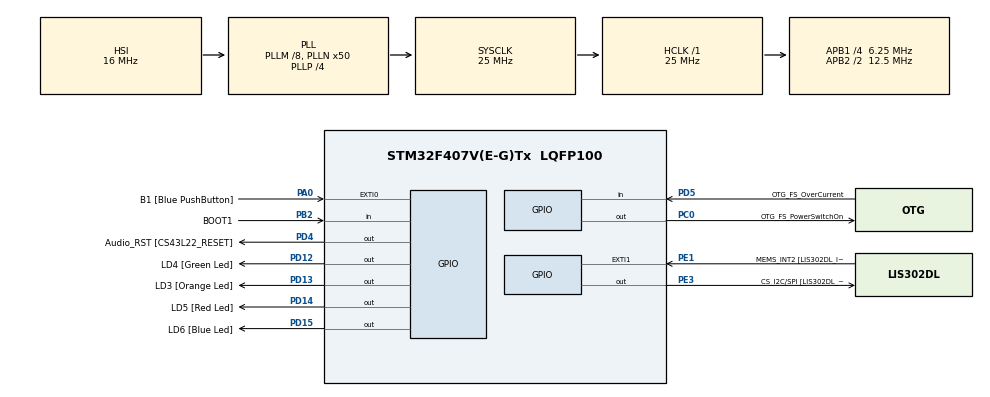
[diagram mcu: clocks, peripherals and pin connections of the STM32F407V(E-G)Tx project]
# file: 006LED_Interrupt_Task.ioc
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Mcu.Family=STM32F4
Mcu.Name=STM32F407V(E-G)Tx
Mcu.Package=LQFP100
NVIC.EXTI0_IRQn=true\:5\:0\:true\:false\:true\:true\:true\:true
NVIC.PriorityGroup=NVIC_PRIORITYGROUP_4
NVIC.TIM6_DAC_IRQn=true\:0\:0\:false\:false\:true\:false\:true\:true
NVIC.TimeBase=TIM6_DAC_IRQn
NVIC.TimeBaseIP=TIM6
PA0-WKUP.GPIO_Label=B1 [Blue PushButton]
PA0-WKUP.GPIO_ModeDefaultEXTI=GPIO_MODE_IT_FALLING
PA0-WKUP.Signal=GPXTI0
PA10.GPIO_Label=OTG_FS_ID
PA10.GPIO_Mode=GPIO_MODE_AF_PP
PA10.GPIO_PuPd=GPIO_NOPULL
PA10.GPIO_Speed=GPIO_SPEED_FREQ_LOW
PA10.Signal=USB_OTG_FS_ID
PA11.GPIO_Label=OTG_FS_DM
PA11.GPIO_Mode=GPIO_MODE_AF_PP
PA11.GPIO_PuPd=GPIO_NOPULL
PA11.GPIO_Speed=GPIO_SPEED_FREQ_LOW
PA11.Signal=USB_OTG_FS_DM
PA12.GPIO_Label=OTG_FS_DP
PA12.GPIO_Mode=GPIO_MODE_AF_PP
PA12.GPIO_PuPd=GPIO_NOPULL
PA12.GPIO_Speed=GPIO_SPEED_FREQ_LOW
PA12.Signal=USB_OTG_FS_DP
PA13.GPIO_Label=SWDIO
PA13.Signal=SYS_JTMS-SWDIO
PA14.GPIO_Label=SWCLK
PA14.Signal=SYS_JTCK-SWCLK
PA4.GPIO_Label=I2S3_WS [CS43L22_LRCK]
PA4.GPIO_Mode=GPIO_MODE_AF_PP
PA4.GPIO_PuPd=GPIO_NOPULL
PA4.GPIO_Speed=GPIO_SPEED_FREQ_LOW
PA4.Signal=I2S3_WS
PA5.GPIO_Label=SPI1_SCK [LIS302DL_SCL/SPC]
PA5.GPIO_Mode=GPIO_MODE_AF_PP
PA5.GPIO_PuPd=GPIO_NOPULL
PA5.GPIO_Speed=GPIO_SPEED_FREQ_LOW
PA5.Signal=SPI1_SCK
PA6.GPIO_Label=SPI1_MISO [LIS302DL_SDO]
PA6.GPIO_Mode=GPIO_MODE_AF_PP
PA6.GPIO_PuPd=GPIO_NOPULL
PA6.GPIO_Speed=GPIO_SPEED_FREQ_LOW
PA6.Signal=SPI1_MISO
PA7.GPIO_Label=SPI1_MOSI [LIS302DL_SDA/SDI/SDO]
PA7.GPIO_Mode=GPIO_MODE_AF_PP
PA7.GPIO_PuPd=GPIO_NOPULL
PA7.GPIO_Speed=GPIO_SPEED_FREQ_LOW
PA7.Signal=SPI1_MOSI
PA9.GPIO_Label=VBUS_FS
PA9.GPIO_Mode=GPIO_MODE_INPUT
PA9.GPIO_PuPd=GPIO_NOPULL
PA9.Signal=USB_OTG_FS_VBUS
PB10.GPIO_Label=CLK_IN [MP45DT02_CLK]
PB10.GPIO_Mode=GPIO_MODE_AF_PP
PB10.GPIO_PuPd=GPIO_NOPULL
PB10.GPIO_Speed=GPIO_SPEED_FREQ_LOW
PB10.Signal=I2S2_CK
PB2.GPIO_Label=BOOT1
PB2.GPIO_Mode=GPIO_MODE_INPUT
PB2.GPIO_PuPd=GPIO_NOPULL
PB2.Signal=GPIO_Input
PB3.GPIO_Label=SWO
PB3.Signal=SYS_JTDO-SWO
PB6.GPIO_Label=Audio_SCL [CS43L22_SCL]
PB6.GPIO_Mode=GPIO_MODE_AF_OD
PB6.GPIO_PuPd=GPIO_NOPULL
PB6.GPIO_Speed=GPIO_SPEED_FREQ_LOW
PB6.Signal=I2C1_SCL
PB9.GPIO_Label=Audio_SDA [CS43L22_SDA]
PB9.GPIO_Mode=GPIO_MODE_AF_OD
PB9.GPIO_PuPd=GPIO_NOPULL
PB9.GPIO_Speed=GPIO_SPEED_FREQ_LOW
PB9.Signal=I2C1_SDA
PC0.GPIO_Label=OTG_FS_PowerSwitchOn
PC0.GPIO_PuPd=GPIO_NOPULL
PC0.GPIO_Speed=GPIO_SPEED_FREQ_LOW
PC0.PinState=GPIO_PIN_SET
PC0.Signal=GPIO_Output
PC10.GPIO_Label=I2S3_SCK [CS43L22_SCLK]
PC10.GPIO_Mode=GPIO_MODE_AF_PP
PC10.GPIO_PuPd=GPIO_NOPULL
PC10.GPIO_Speed=GPIO_SPEED_FREQ_LOW
PC10.Signal=I2S3_CK
PC12.GPIO_Label=I2S3_SD [CS43L22_SDIN]
PC12.GPIO_Mode=GPIO_MODE_AF_PP
PC12.GPIO_PuPd=GPIO_NOPULL
PC12.GPIO_Speed=GPIO_SPEED_FREQ_LOW
PC12.Signal=I2S3_SD
PC14-OSC32_IN.GPIO_Label=PC14-OSC32_IN
PC14-OSC32_IN.Signal=RCC_OSC32_IN
PC15-OSC32_OUT.GPIO_Label=PC15-OSC32_OUT
PC15-OSC32_OUT.Signal=RCC_OSC32_OUT
PC3.GPIO_Label=PDM_OUT [MP45DT02_DOUT]
PC3.GPIO_Mode=GPIO_MODE_AF_PP
PC3.GPIO_PuPd=GPIO_NOPULL
PC3.GPIO_Speed=GPIO_SPEED_FREQ_LOW
PC3.Signal=I2S2_SD
PC7.GPIO_Label=I2S3_MCK [CS43L22_MCLK]
PC7.GPIO_Mode=GPIO_MODE_AF_PP
PC7.GPIO_PuPd=GPIO_NOPULL
PC7.GPIO_Speed=GPIO_SPEED_FREQ_LOW
PC7.Signal=I2S3_MCK
PD12.GPIO_Label=LD4 [Green Led]
PD12.GPIO_PuPd=GPIO_NOPULL
PD12.GPIO_Speed=GPIO_SPEED_FREQ_LOW
PD12.Signal=GPIO_Output
PD13.GPIO_Label=LD3 [Orange Led]
PD13.GPIO_PuPd=GPIO_NOPULL
PD13.GPIO_Speed=GPIO_SPEED_FREQ_LOW
PD13.Signal=GPIO_Output
PD14.GPIO_Label=LD5 [Red Led]
PD14.GPIO_PuPd=GPIO_NOPULL
PD14.GPIO_Speed=GPIO_SPEED_FREQ_LOW
PD14.Signal=GPIO_Output
PD15.GPIO_Label=LD6 [Blue Led]
PD15.GPIO_PuPd=GPIO_NOPULL
PD15.GPIO_Speed=GPIO_SPEED_FREQ_LOW
PD15.Signal=GPIO_Output
PD4.GPIO_Label=Audio_RST [CS43L22_RESET]
PD4.GPIO_PuPd=GPIO_NOPULL
PD4.GPIO_Speed=GPIO_SPEED_FREQ_LOW
PD4.Signal=GPIO_Output
PD5.GPIO_Label=OTG_FS_OverCurrent
PD5.GPIO_Mode=GPIO_MODE_INPUT
PD5.GPIO_PuPd=GPIO_NOPULL
PD5.Signal=GPIO_Input
PE1.GPIO_Label=MEMS_INT2 [LIS302DL_INT2]
PE1.GPIO_ModeDefaultEXTI=GPIO_MODE_EVT_RISING
PE1.GPIO_PuPd=GPIO_NOPULL
PE1.Signal=GPXTI1
PE3.GPIO_Label=CS_I2C/SPI [LIS302DL_CS_I2C/SPI]
PE3.GPIO_PuPd=GPIO_NOPULL
PE3.GPIO_Speed=GPIO_SPEED_FREQ_LOW
PE3.Signal=GPIO_Output
PH0-OSC_IN.GPIO_Label=PH0-OSC_IN
PH0-OSC_IN.Signal=RCC_OSC_IN
PH1-OSC_OUT.GPIO_Label=PH1-OSC_OUT
PH1-OSC_OUT.Signal=RCC_OSC_OUT
ProjectManager.HeapSize=0x200
ProjectManager.StackSize=0x400
ProjectManager.TargetToolchain=STM32CubeIDE
RCC.48MHZClocksFreq_Value=14285714.285714285
RCC.AHBFreq_Value=25000000
RCC.APB1CLKDivider=RCC_HCLK_DIV4
RCC.APB1Freq_Value=6250000
RCC.APB1TimFreq_Value=12500000
RCC.APB2CLKDivider=RCC_HCLK_DIV2
RCC.APB2Freq_Value=12500000
RCC.APB2TimFreq_Value=25000000
RCC.CortexFreq_Value=25000000
RCC.HCLKFreq_Value=25000000
RCC.HSE_VALUE=8000000
RCC.HSI_VALUE=16000000
RCC.LSE_VALUE=32768
RCC.PLLM=8
RCC.PLLN=50
RCC.PLLP=RCC_PLLP_DIV4
RCC.PLLQ=7
RCC.SYSCLKFreq_VALUE=25000000
RCC.SYSCLKSource=RCC_SYSCLKSOURCE_PLLCLK
RCC.VCOOutputFreq_Value=100000000
VP_SYS_VS_tim6.Mode=TIM6
board=STM32F407G-DISC1

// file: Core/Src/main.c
/* USER CODE BEGIN Header */
/**
  ******************************************************************************
  * @file           : main.c
  * @brief          : Main program body
  ******************************************************************************
  * @attention
  *
  * Copyright (c) 2024 STMicroelectronics.
  * All rights reserved.
  *
  * This software is licensed under terms that can be found in the LICENSE file
  * in the root directory of this software component.
  * If no LICENSE file comes with this software, it is provided AS-IS.
  *
  ******************************************************************************
  */
/* USER CODE END Header */
#include "main.h"

/* USER CODE BEGIN Includes */
#include "FreeRTOS.h"
#include "task.h"
#include <stdio.h>
/* USER CODE END Includes */

/* USER CODE BEGIN PM */
#define DWT_CTRL (*(volatile uint32_t*)0xE0001000)
/* USER CODE END PM */

void SystemClock_Config(void);
static void MX_GPIO_Init(void);
/* USER CODE BEGIN PFP */

static void led_green_handler(void* parameters);
static void led_red_handler(void* parameters);
void button_interrupt_handler(void);

void switch_priority(void);

/* USER CODE END PFP */

/* USER CODE BEGIN 0 */
extern void SEGGER_UART_init(uint32_t);

volatile BaseType_t status_button = 0;
/* USER CODE END 0 */

int main(void)
{
  /* USER CODE BEGIN 1 */
	BaseType_t status;
	TaskHandle_t ledg_task_handle;
	TaskHandle_t ledr_task_handle;
  /* USER CODE END 1 */

  /* MCU Configuration--------------------------------------------------------*/

  /* Reset of all peripherals, Initializes the Flash interface and the Systick. */
  HAL_Init();

  /* Configure the system clock */
  SystemClock_Config();

  /* Initialize all configured peripherals */
  MX_GPIO_Init();
  /* USER CODE BEGIN 2 */

  SEGGER_UART_init(500000);

  //  Cyclic count enable
    DWT_CTRL |=(1<<0);

    SEGGER_SYSVIEW_Conf();

  //  task creation
    status = xTaskCreate(led_green_handler,
                "Task-1",
                200,
                NULL,
                3,
                &ledg_task_handle
                              );

    configASSERT(status == pdPASS);

    status = xTaskCreate(led_red_handler,
                  "Task-2",
                  200,
                  NULL,
                  2,
                  &ledr_task_handle
                                );

    configASSERT(status == pdPASS);

     vTaskStartScheduler();

  /* USER CODE END 2 */

  /* Infinite loop */
  while (1)
  {

  }
}

void SystemClock_Config(void)
{
  RCC_OscInitTypeDef RCC_OscInitStruct = {0};
  RCC_ClkInitTypeDef RCC_ClkInitStruct = {0};

  /** Configure the main internal regulator output voltage
  */
  __HAL_RCC_PWR_CLK_ENABLE();
  __HAL_PWR_VOLTAGESCALING_CONFIG(PWR_REGULATOR_VOLTAGE_SCALE1);

  /** Initializes the RCC Oscillators according to the specified parameters
  * in the RCC_OscInitTypeDef structure.
  */
  RCC_OscInitStruct.OscillatorType = RCC_OSCILLATORTYPE_HSI;
  RCC_OscInitStruct.HSIState = RCC_HSI_ON;
  RCC_OscInitStruct.HSICalibrationValue = RCC_HSICALIBRATION_DEFAULT;
  RCC_OscInitStruct.PLL.PLLState = RCC_PLL_ON;
  RCC_OscInitStruct.PLL.PLLSource = RCC_PLLSOURCE_HSI;
  RCC_OscInitStruct.PLL.PLLM = 8;
  RCC_OscInitStruct.PLL.PLLN = 50;
  RCC_OscInitStruct.PLL.PLLP = RCC_PLLP_DIV4;
  RCC_OscInitStruct.PLL.PLLQ = 7;
  if (HAL_RCC_OscConfig(&RCC_OscInitStruct) != HAL_OK)
  {
    Error_Handler();
  }

  /** Initializes the CPU, AHB and APB buses clocks
  */
  RCC_ClkInitStruct.ClockType = RCC_CLOCKTYPE_HCLK|RCC_CLOCKTYPE_SYSCLK
                              |RCC_CLOCKTYPE_PCLK1|RCC_CLOCKTYPE_PCLK2;
  RCC_ClkInitStruct.SYSCLKSource = RCC_SYSCLKSOURCE_PLLCLK;
  RCC_ClkInitStruct.AHBCLKDivider = RCC_SYSCLK_DIV1;
  RCC_ClkInitStruct.APB1CLKDivider = RCC_HCLK_DIV4;
  RCC_ClkInitStruct.APB2CLKDivider = RCC_HCLK_DIV2;

  if (HAL_RCC_ClockConfig(&RCC_ClkInitStruct, FLASH_LATENCY_0) != HAL_OK)
  {
    Error_Handler();
  }
}

static void MX_GPIO_Init(void)
{
  GPIO_InitTypeDef GPIO_InitStruct = {0};

  /* GPIO Ports Clock Enable */
  __HAL_RCC_GPIOE_CLK_ENABLE();
  __HAL_RCC_GPIOC_CLK_ENABLE();
  __HAL_RCC_GPIOH_CLK_ENABLE();
  __HAL_RCC_GPIOA_CLK_ENABLE();
  __HAL_RCC_GPIOB_CLK_ENABLE();
  __HAL_RCC_GPIOD_CLK_ENABLE();

  /*Configure GPIO pin Output Level */
  HAL_GPIO_WritePin(CS_I2C_SPI_GPIO_Port, CS_I2C_SPI_Pin, GPIO_PIN_RESET);

  /*Configure GPIO pin Output Level */
  HAL_GPIO_WritePin(OTG_FS_PowerSwitchOn_GPIO_Port, OTG_FS_PowerSwitchOn_Pin, GPIO_PIN_SET);

  /*Configure GPIO pin Output Level */
  HAL_GPIO_WritePin(GPIOD, LD4_Pin|LD3_Pin|LD5_Pin|LD6_Pin
                          |Audio_RST_Pin, GPIO_PIN_RESET);

  /*Configure GPIO pin : CS_I2C_SPI_Pin */
  GPIO_InitStruct.Pin = CS_I2C_SPI_Pin;
  GPIO_InitStruct.Mode = GPIO_MODE_OUTPUT_PP;
  GPIO_InitStruct.Pull = GPIO_NOPULL;
  GPIO_InitStruct.Speed = GPIO_SPEED_FREQ_LOW;
  HAL_GPIO_Init(CS_I2C_SPI_GPIO_Port, &GPIO_InitStruct);

  /*Configure GPIO pin : OTG_FS_PowerSwitchOn_Pin */
  GPIO_InitStruct.Pin = OTG_FS_PowerSwitchOn_Pin;
  GPIO_InitStruct.Mode = GPIO_MODE_OUTPUT_PP;
  GPIO_InitStruct.Pull = GPIO_NOPULL;
  GPIO_InitStruct.Speed = GPIO_SPEED_FREQ_LOW;
  HAL_GPIO_Init(OTG_FS_PowerSwitchOn_GPIO_Port, &GPIO_InitStruct);

  /*Configure GPIO pin : PDM_OUT_Pin */
  GPIO_InitStruct.Pin = PDM_OUT_Pin;
  GPIO_InitStruct.Mode = GPIO_MODE_AF_PP;
  GPIO_InitStruct.Pull = GPIO_NOPULL;
  GPIO_InitStruct.Speed = GPIO_SPEED_FREQ_LOW;
  GPIO_InitStruct.Alternate = GPIO_AF5_SPI2;
  HAL_GPIO_Init(PDM_OUT_GPIO_Port, &GPIO_InitStruct);

  /*Configure GPIO pin : B1_Pin */
  GPIO_InitStruct.Pin = B1_Pin;
  GPIO_InitStruct.Mode = GPIO_MODE_IT_FALLING;
  GPIO_InitStruct.Pull = GPIO_NOPULL;
  HAL_GPIO_Init(B1_GPIO_Port, &GPIO_InitStruct);

  /*Configure GPIO pin : I2S3_WS_Pin */
  GPIO_InitStruct.Pin = I2S3_WS_Pin;
  GPIO_InitStruct.Mode = GPIO_MODE_AF_PP;
  GPIO_InitStruct.Pull = GPIO_NOPULL;
  GPIO_InitStruct.Speed = GPIO_SPEED_FREQ_LOW;
  GPIO_InitStruct.Alternate = GPIO_AF6_SPI3;
  HAL_GPIO_Init(I2S3_WS_GPIO_Port, &GPIO_InitStruct);

  /*Configure GPIO pins : SPI1_SCK_Pin SPI1_MISO_Pin SPI1_MOSI_Pin */
  GPIO_InitStruct.Pin = SPI1_SCK_Pin|SPI1_MISO_Pin|SPI1_MOSI_Pin;
  GPIO_InitStruct.Mode = GPIO_MODE_AF_PP;
  GPIO_InitStruct.Pull = GPIO_NOPULL;
  GPIO_InitStruct.Speed = GPIO_SPEED_FREQ_LOW;
  GPIO_InitStruct.Alternate = GPIO_AF5_SPI1;
  HAL_GPIO_Init(GPIOA, &GPIO_InitStruct);

  /*Configure GPIO pin : BOOT1_Pin */
  GPIO_InitStruct.Pin = BOOT1_Pin;
  GPIO_InitStruct.Mode = GPIO_MODE_INPUT;
  GPIO_InitStruct.Pull = GPIO_NOPULL;
  HAL_GPIO_Init(BOOT1_GPIO_Port, &GPIO_InitStruct);

  /*Configure GPIO pin : CLK_IN_Pin */
  GPIO_InitStruct.Pin = CLK_IN_Pin;
  GPIO_InitStruct.Mode = GPIO_MODE_AF_PP;
  GPIO_InitStruct.Pull = GPIO_NOPULL;
  GPIO_InitStruct.Speed = GPIO_SPEED_FREQ_LOW;
  GPIO_InitStruct.Alternate = GPIO_AF5_SPI2;
  HAL_GPIO_Init(CLK_IN_GPIO_Port, &GPIO_InitStruct);

  /*Configure GPIO pins : LD4_Pin LD3_Pin LD5_Pin LD6_Pin
                           Audio_RST_Pin */
  GPIO_InitStruct.Pin = LD4_Pin|LD3_Pin|LD5_Pin|LD6_Pin
                          |Audio_RST_Pin;
  GPIO_InitStruct.Mode = GPIO_MODE_OUTPUT_PP;
  GPIO_InitStruct.Pull = GPIO_NOPULL;
  GPIO_InitStruct.Speed = GPIO_SPEED_FREQ_LOW;
  HAL_GPIO_Init(GPIOD, &GPIO_InitStruct);

  /*Configure GPIO pins : I2S3_MCK_Pin I2S3_SCK_Pin I2S3_SD_Pin */
  GPIO_InitStruct.Pin = I2S3_MCK_Pin|I2S3_SCK_Pin|I2S3_SD_Pin;
  GPIO_InitStruct.Mode = GPIO_MODE_AF_PP;
  GPIO_InitStruct.Pull = GPIO_NOPULL;
  GPIO_InitStruct.Speed = GPIO_SPEED_FREQ_LOW;
  GPIO_InitStruct.Alternate = GPIO_AF6_SPI3;
  HAL_GPIO_Init(GPIOC, &GPIO_InitStruct);

  /*Configure GPIO pin : VBUS_FS_Pin */
  GPIO_InitStruct.Pin = VBUS_FS_Pin;
  GPIO_InitStruct.Mode = GPIO_MODE_INPUT;
  GPIO_InitStruct.Pull = GPIO_NOPULL;
  HAL_GPIO_Init(VBUS_FS_GPIO_Port, &GPIO_InitStruct);

  /*Configure GPIO pins : OTG_FS_ID_Pin OTG_FS_DM_Pin OTG_FS_DP_Pin */
  GPIO_InitStruct.Pin = OTG_FS_ID_Pin|OTG_FS_DM_Pin|OTG_FS_DP_Pin;
  GPIO_InitStruct.Mode = GPIO_MODE_AF_PP;
  GPIO_InitStruct.Pull = GPIO_NOPULL;
  GPIO_InitStruct.Speed = GPIO_SPEED_FREQ_LOW;
  GPIO_InitStruct.Alternate = GPIO_AF10_OTG_FS;
  HAL_GPIO_Init(GPIOA, &GPIO_InitStruct);

  /*Configure GPIO pin : OTG_FS_OverCurrent_Pin */
  GPIO_InitStruct.Pin = OTG_FS_OverCurrent_Pin;
  GPIO_InitStruct.Mode = GPIO_MODE_INPUT;
  GPIO_InitStruct.Pull = GPIO_NOPULL;
  HAL_GPIO_Init(OTG_FS_OverCurrent_GPIO_Port, &GPIO_InitStruct);

  /*Configure GPIO pins : Audio_SCL_Pin Audio_SDA_Pin */
  GPIO_InitStruct.Pin = Audio_SCL_Pin|Audio_SDA_Pin;
  GPIO_InitStruct.Mode = GPIO_MODE_AF_OD;
  GPIO_InitStruct.Pull = GPIO_NOPULL;
  GPIO_InitStruct.Speed = GPIO_SPEED_FREQ_LOW;
  GPIO_InitStruct.Alternate = GPIO_AF4_I2C1;
  HAL_GPIO_Init(GPIOB, &GPIO_InitStruct);

  /*Configure GPIO pin : MEMS_INT2_Pin */
  GPIO_InitStruct.Pin = MEMS_INT2_Pin;
  GPIO_InitStruct.Mode = GPIO_MODE_EVT_RISING;
  GPIO_InitStruct.Pull = GPIO_NOPULL;
  HAL_GPIO_Init(MEMS_INT2_GPIO_Port, &GPIO_InitStruct);

  /* EXTI interrupt init*/
  HAL_NVIC_SetPriority(EXTI0_IRQn, 5, 0);
  HAL_NVIC_EnableIRQ(EXTI0_IRQn);

}

/* USER CODE BEGIN 4 */

void switch_priority(void)
{
	UBaseType_t p1,p2;
	xTaskHandle t1,t2,curr;

	BaseType_t switch_priority = 0;
	portENTER_CRITICAL();
	if(status_button)
	{
		status_button = 0;
		switch_priority=1;
	}
	portEXIT_CRITICAL();
	if(switch_priority)
	{
		t1=xTaskGetHandle("Task-1");
		t2=xTaskGetHandle("Task-2");

		p1 = uxTaskPriorityGet(t1);
		p2 = uxTaskPriorityGet(t2);

		curr = xTaskGetCurrentTaskHandle();

		if(curr == t1)
		{
			vTaskPrioritySet(t1, p2);
			vTaskPrioritySet(t2, p1);
		}
		else
		{
			vTaskPrioritySet(t2, p1);
			vTaskPrioritySet(t1, p2);
		}
	}
}

static void led_green_handler(void* parameters)
{

	while(1)
	{
		SEGGER_SYSVIEW_PrintfTarget("Toggling green LED");
		HAL_GPIO_TogglePin(GPIOD, LED_GREEN_PIN);
		HAL_Delay(100);
		switch_priority();

	}
}

static void led_red_handler(void* parameters)
{

	while(1)
	{

		SEGGER_SYSVIEW_PrintfTarget("Toggling red LED");
		HAL_GPIO_TogglePin(GPIOD, LED_RED_PIN);
		HAL_Delay(1000);
		switch_priority();

	}
}

void button_interrupt_handler(void)
{
	traceISR_ENTER();
	status_button = 1;
	traceISR_EXIT();
}

/* USER CODE END 4 */

void HAL_TIM_PeriodElapsedCallback(TIM_HandleTypeDef *htim)
{
  if (htim->Instance == TIM6) {
    HAL_IncTick();
  }
}

void Error_Handler(void)
{
  __disable_irq();
  while (1)
  {
  }
}
